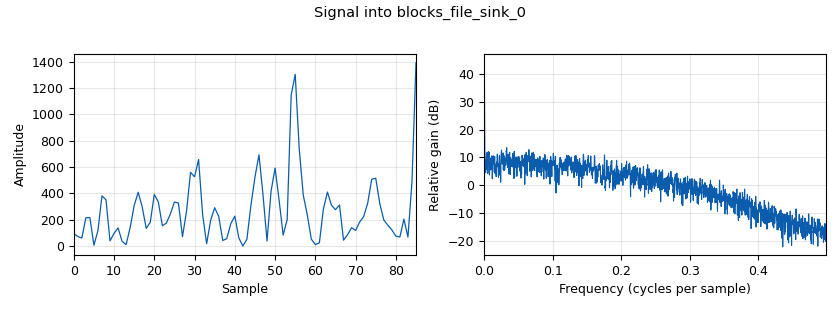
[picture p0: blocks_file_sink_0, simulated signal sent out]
options:
  parameters:
    generate_options: no_gui
    id: fft_test
    output_language: python
    run_options: run
  states: {}

blocks:
- name: samp_rate
  id: variable
  parameters:
    value: '32000'
  states: {}
- name: analog_noise_source_x_0
  id: analog_noise_source_x
  parameters:
    amp: '1'
    noise_type: analog.GR_GAUSSIAN
    seed: '0'
    type: complex
  states: {}
- name: blocks_complex_to_mag_squared_0
  id: blocks_complex_to_mag_squared
  parameters:
    vlen: '1024'
  states: {}
- name: blocks_file_sink_0
  id: blocks_file_sink
  parameters:
    file: fft_test.bin
    type: complex
    vlen: '512'
  states: {}
- name: blocks_head_0
  id: blocks_head
  parameters:
    num_items: 50*samp_rate
    type: complex
  states: {}
- name: blocks_stream_to_vector_0
  id: blocks_stream_to_vector
  parameters:
    num_items: '1024'
    type: complex
  states: {}
- name: blocks_throttle_0
  id: blocks_throttle
  parameters:
    samples_per_second: samp_rate
    type: complex
  states: {}
- name: fft_vxx_0
  id: fft_vxx
  parameters:
    fft_size: '1024'
    forward: 'True'
    shift: 'True'
    type: complex
    window: window.blackmanharris(1024)
  states: {}

connections:
- [analog_noise_source_x_0, '0', blocks_throttle_0, '0']
- [blocks_complex_to_mag_squared_0, '0', blocks_file_sink_0, '0']
- [blocks_head_0, '0', blocks_stream_to_vector_0, '0']
- [blocks_stream_to_vector_0, '0', fft_vxx_0, '0']
- [blocks_throttle_0, '0', blocks_head_0, '0']
- [fft_vxx_0, '0', blocks_complex_to_mag_squared_0, '0']

metadata:
  file_format: 1
